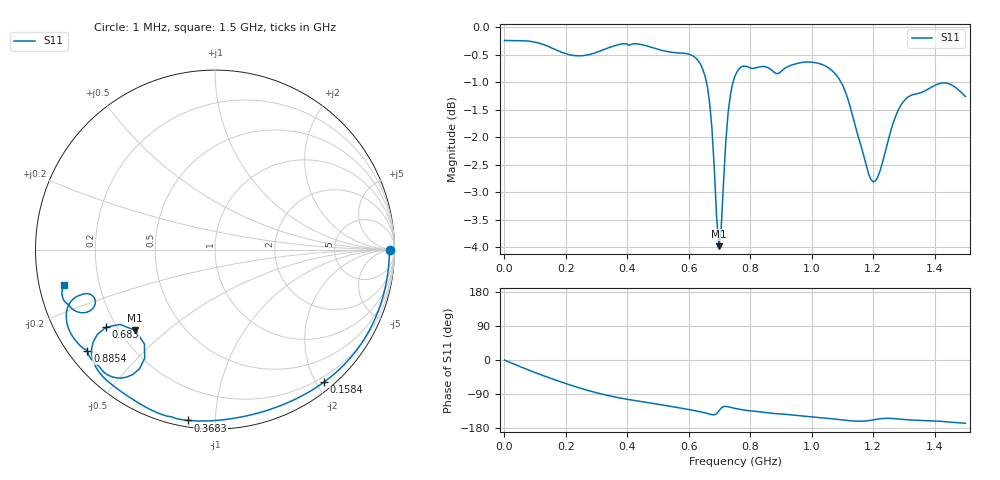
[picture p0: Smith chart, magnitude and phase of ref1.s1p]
! Created with skrf 1.8.0 (http://scikit-rf.org).
# Hz S RI R 50.0
!freq ReS11 ImS11
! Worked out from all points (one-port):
!   201 points, 1 MHz to 1.5 GHz, reference 50 ohm
!   lowest |S11| = -4.0 dB at 698 MHz (marker M1), VSWR 4.44, Z = 13.1 - j19.7 ohm
!   |S11| at or under -10 dB: nowhere
!   S11 on the Smith chart (normalised r, x): 1 MHz: 69, -11; 158.4 MHz: 0.12, -2.11; 368.3 MHz: 0.03, -0.85; 683 MHz: 0.16, -0.31; 885.4 MHz: 0.05, -0.35; 1.5 GHz: 0.07, -0.11
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1000000  0.9723 -0.00422
7.595e7  0.8764 -0.4182
1.58395e8  0.6073 -0.7381
1.88375e8  0.489 -0.8123
2.7082e8  0.163 -0.9292
3.68255e8  -0.1499 -0.9516
3.7575e8  -0.1694 -0.9495
4.58195e8  -0.3491 -0.8965
5.63125e8  -0.5483 -0.7724
6.53065e8  -0.6864 -0.586
6.68055e8  -0.6791 -0.5158
6.83045e8  -0.6067 -0.4321
6.9054e8  -0.5285 -0.417
6.98035e8  -0.4447 -0.45
7.0553e8  -0.3932 -0.5256
7.2052e8  -0.4209 -0.6645
7.505e8  -0.5528 -0.714
7.87975e8  -0.6276 -0.674
8.8541e8  -0.7105 -0.5638
9.37875e8  -0.7599 -0.5262
1.057795e9  -0.8269 -0.3959
1.12525e9  -0.7978 -0.2827
1.177715e9  -0.7071 -0.2455
1.207695e9  -0.6664 -0.2854
1.252665e9  -0.7157 -0.3493
1.312625e9  -0.7992 -0.3271
1.41006e9  -0.8405 -0.2851
1.5e9  -0.8421 -0.1971
